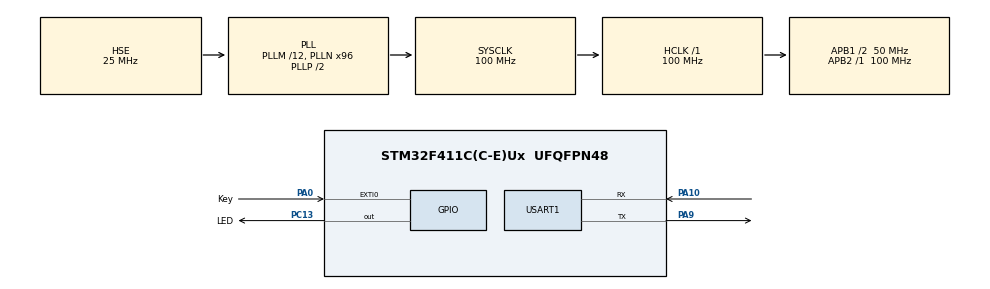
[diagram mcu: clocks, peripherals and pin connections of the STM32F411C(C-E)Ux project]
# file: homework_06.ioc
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FREERTOS.Tasks01=defaultTask,24,128,StartDefaultTask,Default,NULL,Dynamic,NULL,NULL
Mcu.Family=STM32F4
Mcu.Name=STM32F411C(C-E)Ux
Mcu.Package=UFQFPN48
NVIC.EXTI0_IRQn=true\:5\:0\:true\:false\:true\:true\:true\:true\:true
NVIC.PriorityGroup=NVIC_PRIORITYGROUP_4
NVIC.TIM1_UP_TIM10_IRQn=true\:15\:0\:false\:false\:true\:false\:false\:true\:true
NVIC.TimeBase=TIM1_UP_TIM10_IRQn
NVIC.TimeBaseIP=TIM1
PA0-WKUP.GPIO_Label=Key
PA0-WKUP.GPIO_ModeDefaultEXTI=GPIO_MODE_IT_FALLING
PA0-WKUP.GPIO_PuPd=GPIO_PULLUP
PA0-WKUP.Signal=GPXTI0
PA10.Mode=Asynchronous
PA10.Signal=USART1_RX
PA13.Mode=Serial_Wire
PA13.Signal=SYS_JTMS-SWDIO
PA14.Mode=Serial_Wire
PA14.Signal=SYS_JTCK-SWCLK
PA9.Mode=Asynchronous
PA9.Signal=USART1_TX
PC13-ANTI_TAMP.GPIO_Label=LED
PC13-ANTI_TAMP.Signal=GPIO_Output
PC14-OSC32_IN.Mode=LSE-External-Oscillator
PC14-OSC32_IN.Signal=RCC_OSC32_IN
PC15-OSC32_OUT.Mode=LSE-External-Oscillator
PC15-OSC32_OUT.Signal=RCC_OSC32_OUT
PH0\ -\ OSC_IN.Mode=HSE-External-Oscillator
PH0\ -\ OSC_IN.Signal=RCC_OSC_IN
PH1\ -\ OSC_OUT.Mode=HSE-External-Oscillator
PH1\ -\ OSC_OUT.Signal=RCC_OSC_OUT
ProjectManager.HeapSize=0x200
ProjectManager.StackSize=0x400
ProjectManager.TargetToolchain=MDK-ARM V5.32
RCC.48MHZClocksFreq_Value=50000000
RCC.AHBFreq_Value=100000000
RCC.APB1CLKDivider=RCC_HCLK_DIV2
RCC.APB1Freq_Value=50000000
RCC.APB1TimFreq_Value=100000000
RCC.APB2Freq_Value=100000000
RCC.APB2TimFreq_Value=100000000
RCC.CortexFreq_Value=100000000
RCC.HCLKFreq_Value=100000000
RCC.HSE_VALUE=25000000
RCC.HSI_VALUE=16000000
RCC.PLLM=12
RCC.PLLN=96
RCC.PLLSourceVirtual=RCC_PLLSOURCE_HSE
RCC.SYSCLKFreq_VALUE=100000000
RCC.SYSCLKSource=RCC_SYSCLKSOURCE_PLLCLK
RCC.VCOOutputFreq_Value=200000000
USART1.VirtualMode=VM_ASYNC
VP_FREERTOS_VS_CMSIS_V2.Mode=CMSIS_V2
VP_SYS_VS_tim1.Mode=TIM1
board=custom

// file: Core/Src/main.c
/* USER CODE BEGIN Header */
/**
  ******************************************************************************
  * @file           : main.c
  * @brief          : Main program body
  ******************************************************************************
  * @attention
  *
  * Copyright (c) 2024 STMicroelectronics.
  * All rights reserved.
  *
  * This software is licensed under terms that can be found in the LICENSE file
  * in the root directory of this software component.
  * If no LICENSE file comes with this software, it is provided AS-IS.
  *
  ******************************************************************************
  */
/* USER CODE END Header */
#include "main.h"
#include "cmsis_os.h"

/* USER CODE BEGIN Includes */
#include <stdio.h>
#include "bsp_key_irq.h"
#include "bsp_led.h"

/* USER CODE END Includes */

UART_HandleTypeDef huart1;

/* Definitions for defaultTask */
osThreadId_t defaultTaskHandle;
const osThreadAttr_t defaultTask_attributes = {
  .name = "defaultTask",
  .stack_size = 128 * 4,
  .priority = (osPriority_t) osPriorityNormal,
};

void SystemClock_Config(void);
static void MX_GPIO_Init(void);
static void MX_USART1_UART_Init(void);
void StartDefaultTask(void *argument);

/* USER CODE BEGIN PFP */
 #ifdef __GNUC__
     #define PUTCHAR_PROTOTYPE int _io_putchar(int ch)
 #else
     #define PUTCHAR_PROTOTYPE int fputc(int ch, FILE *f)
 #endif /* __GNUC__*/

 /******************************************************************
     *@brief  Retargets the C library printf  function to the USART.
     *@param  None
     *@retval None
 ******************************************************************/
 PUTCHAR_PROTOTYPE
 {
     HAL_UART_Transmit(&huart1, (uint8_t *)&ch,1,0xFFFF);
     return ch;
 }

/**
  * @brief  key thread function
  * @param  void * argument
  * @retval void
*/

/* USER CODE END PFP */

int main(void)
{

  /* MCU Configuration--------------------------------------------------------*/

  /* Reset of all peripherals, Initializes the Flash interface and the Systick. */
  HAL_Init();

  /* Configure the system clock */
  SystemClock_Config();

  /* Initialize all configured peripherals */
  MX_GPIO_Init();
  MX_USART1_UART_Init();

  /* Init scheduler */
  osKernelInitialize();

  /* Create the thread(s) */
  /* creation of defaultTask */
  defaultTaskHandle = osThreadNew(StartDefaultTask, NULL, &defaultTask_attributes);

  /* USER CODE BEGIN RTOS_THREADS */
  /* add threads, ... */
  key_TaskHandle = osThreadNew(key_task_func, NULL, &key_Task_attributes);
  led_TaskHandle = osThreadNew(led_task_func, NULL, &led_Task_attributes);
  /* USER CODE END RTOS_THREADS */

  /* Start scheduler */
  osKernelStart();

  /* We should never get here as control is now taken by the scheduler */

  /* Infinite loop */
  while (1)
  {

  }
}

void SystemClock_Config(void)
{
  RCC_OscInitTypeDef RCC_OscInitStruct = {0};
  RCC_ClkInitTypeDef RCC_ClkInitStruct = {0};

  /** Configure the main internal regulator output voltage
  */
  __HAL_RCC_PWR_CLK_ENABLE();
  __HAL_PWR_VOLTAGESCALING_CONFIG(PWR_REGULATOR_VOLTAGE_SCALE1);

  /** Initializes the RCC Oscillators according to the specified parameters
  * in the RCC_OscInitTypeDef structure.
  */
  RCC_OscInitStruct.OscillatorType = RCC_OSCILLATORTYPE_HSE;
  RCC_OscInitStruct.HSEState = RCC_HSE_ON;
  RCC_OscInitStruct.PLL.PLLState = RCC_PLL_ON;
  RCC_OscInitStruct.PLL.PLLSource = RCC_PLLSOURCE_HSE;
  RCC_OscInitStruct.PLL.PLLM = 12;
  RCC_OscInitStruct.PLL.PLLN = 96;
  RCC_OscInitStruct.PLL.PLLP = RCC_PLLP_DIV2;
  RCC_OscInitStruct.PLL.PLLQ = 4;
  if (HAL_RCC_OscConfig(&RCC_OscInitStruct) != HAL_OK)
  {
    Error_Handler();
  }

  /** Initializes the CPU, AHB and APB buses clocks
  */
  RCC_ClkInitStruct.ClockType = RCC_CLOCKTYPE_HCLK|RCC_CLOCKTYPE_SYSCLK
                              |RCC_CLOCKTYPE_PCLK1|RCC_CLOCKTYPE_PCLK2;
  RCC_ClkInitStruct.SYSCLKSource = RCC_SYSCLKSOURCE_PLLCLK;
  RCC_ClkInitStruct.AHBCLKDivider = RCC_SYSCLK_DIV1;
  RCC_ClkInitStruct.APB1CLKDivider = RCC_HCLK_DIV2;
  RCC_ClkInitStruct.APB2CLKDivider = RCC_HCLK_DIV1;

  if (HAL_RCC_ClockConfig(&RCC_ClkInitStruct, FLASH_LATENCY_3) != HAL_OK)
  {
    Error_Handler();
  }
}

static void MX_USART1_UART_Init(void)
{

  huart1.Instance = USART1;
  huart1.Init.BaudRate = 115200;
  huart1.Init.WordLength = UART_WORDLENGTH_8B;
  huart1.Init.StopBits = UART_STOPBITS_1;
  huart1.Init.Parity = UART_PARITY_NONE;
  huart1.Init.Mode = UART_MODE_TX_RX;
  huart1.Init.HwFlowCtl = UART_HWCONTROL_NONE;
  huart1.Init.OverSampling = UART_OVERSAMPLING_16;
  if (HAL_UART_Init(&huart1) != HAL_OK)
  {
    Error_Handler();
  }

}

static void MX_GPIO_Init(void)
{
  GPIO_InitTypeDef GPIO_InitStruct = {0};

  /* GPIO Ports Clock Enable */
  __HAL_RCC_GPIOC_CLK_ENABLE();
  __HAL_RCC_GPIOH_CLK_ENABLE();
  __HAL_RCC_GPIOA_CLK_ENABLE();

  /*Configure GPIO pin Output Level */
  HAL_GPIO_WritePin(LED_GPIO_Port, LED_Pin, GPIO_PIN_RESET);

  /*Configure GPIO pin : LED_Pin */
  GPIO_InitStruct.Pin = LED_Pin;
  GPIO_InitStruct.Mode = GPIO_MODE_OUTPUT_PP;
  GPIO_InitStruct.Pull = GPIO_NOPULL;
  GPIO_InitStruct.Speed = GPIO_SPEED_FREQ_LOW;
  HAL_GPIO_Init(LED_GPIO_Port, &GPIO_InitStruct);

  /*Configure GPIO pin : Key_Pin */
  GPIO_InitStruct.Pin = Key_Pin;
  GPIO_InitStruct.Mode = GPIO_MODE_IT_FALLING;
  GPIO_InitStruct.Pull = GPIO_PULLUP;
  HAL_GPIO_Init(Key_GPIO_Port, &GPIO_InitStruct);

  /* EXTI interrupt init*/
  HAL_NVIC_SetPriority(EXTI0_IRQn, 5, 0);
  HAL_NVIC_EnableIRQ(EXTI0_IRQn);

}

void StartDefaultTask(void *argument)
{
  /* USER CODE BEGIN 5 */
#if 0
    /*********************APP Task**********************************************/
    /**     Variables (in stack)            */
    key_status_t ret_key_status      =             KEY_OK;
    key_press_status_t key_value     =    KEY_NOT_PRESSED;
    led_operation_t    led_ops_event =   LED_INITED_VALUE;
    /**     Variables (in stack)            */
  /* Infinite loop */
  for(;;)
  {
    printf("APP task is living\r\n");
    //1.判断长按和短按
    ret_key_status = key_scan_short_long_press(&key_value,
                                                    1000);
    if( KEY_OK == ret_key_status )
    {
        //1.1 判断为短按
        if( KEY_SHORT_PRESSED == key_value )
        {
            printf("short pressed at [%d] tick \r\n", HAL_GetTick());
            //3.若为短按，则发送对应的LED翻转的消息队列
            led_ops_event  =  LED_TOGGLE;
            if ( pdTRUE == xQueueSendToFront(led_queue,&led_ops_event,0))
            {
                printf("LED_TOGGLE send successfully at [%d] tick \r\n",
                                                            HAL_GetTick());
            }
            printf("after send the queue to led\r\n");
        }

        //1.2 判断为长按
        if( KEY_LONG_PRESSED == key_value )
        {
            printf("long pressedat [%d] tick \r\n", HAL_GetTick());
            //2.若为长按，则发送对应的闪烁3次消息队列
            led_ops_event  =  LED_BLINK_3_TIMES;
            if ( pdTRUE == xQueueSendToFront(led_queue,&led_ops_event,0))
            {
                printf("LED_BLINK_3_TIMES send successfully at [%d] tick \r\n",
                                                                HAL_GetTick());
            }
        }
    }
    HAL_Delay(100);
    osDelay(100);
  }
#endif
/* 等待按键任务创建队列 */
    osDelay(500);

/* Test #1：初始状态收到上升沿 */
#if 0
    key_press_event_t test_event =
    {
        .edge_type = RASING,
        .trigger_tick = HAL_GetTick()
    };

    if (NULL == inter_key_queue)
    {
        printf("inter_key_queue not created\r\n");
    }
    else if (pdTRUE == xQueueSendToFront(inter_key_queue,
                                        &test_event, 0))
    {
        printf("Test #1 send successfully at [%d] tick \r\n", HAL_GetTick());
    }
    else
    {
        printf("Test #1 send failed at [%d] tick \r\n", HAL_GetTick());
    }
#endif

#if 0
    /* Test #2：模拟按下，然后松开 */
    if (NULL == inter_key_queue)
    {
        printf("inter_key_queue not created\r\n");
    }
    else
    {
        /* 第一个事件：按下 */
        key_press_event_t test_event_1 =
        {
            .edge_type = FAILING,
            .trigger_tick = HAL_GetTick()
        };

        if (pdTRUE == xQueueSendToBack(inter_key_queue,
                                        &test_event_1, 0))
        {
            printf("Test #2 falling send successfully\r\n");
        }
        else
        {
            printf("Test #2 falling send failed\r\n");
        }

        HAL_Delay(20);

        /* 第二个事件：松开，在这里才记录松开时间 */
        key_press_event_t test_event_2 =
        {
            .edge_type = RASING,
            .trigger_tick = HAL_GetTick()
        };

        if (pdTRUE == xQueueSendToBack(inter_key_queue,
                                        &test_event_2, 0))
        {
            printf("Test #2 rising send successfully\r\n");
        }
        else
        {
            printf("Test #2 rising send failed\r\n");
        }
    }
#endif

#if 0
    /* Test #3：模拟按下，然后松开 */
    if (NULL == inter_key_queue)
    {
        printf("inter_key_queue not created\r\n");
    }
    else
    {
        /* 第一个事件：按下 */
        key_press_event_t test_event_1 =
        {
            .edge_type = FAILING,
            .trigger_tick = HAL_GetTick()
        };

        if (pdTRUE == xQueueSendToBack(inter_key_queue,
                                        &test_event_1, 0))
        {
            printf("Test #3 falling send successfully\r\n");
        }
        else
        {
            printf("Test #3 falling send failed\r\n");
        }

        HAL_Delay(600);

        /* 第二个事件：松开，在这里才记录松开时间 */
        key_press_event_t test_event_2 =
        {
            .edge_type = RASING,
            .trigger_tick = HAL_GetTick()
        };

        if (pdTRUE == xQueueSendToBack(inter_key_queue,
                                        &test_event_2, 0))
        {
            printf("Test #3 rising send successfully\r\n");
        }
        else
        {
            printf("Test #3 rising send failed\r\n");
        }
    }
#endif

/* 测试消息只发送一次，后续保持任务运行 */
    for (;;)
    {
        key_press_status_t key_result = KEY_NOT_PRESSED;

        printf("APP task is living at [%d] tick\r\n", HAL_GetTick());

        if ((NULL != key_queue) && (NULL != led_queue))
        {
            if (pdTRUE == xQueueReceive(key_queue, &key_result, 0))
            {
                led_operation_t led_action = LED_INITED_VALUE;

                /* 将按键结果映射为 LED 动作。 */
                if (KEY_SHORT_PRESSED == key_result)
                {
                    led_action = LED_TOGGLE;
                }
                else if (KEY_LONG_PRESSED == key_result)
                {
                    led_action = LED_BLINK_3_TIMES;
                }

                /* 有对应动作时，交给 LED 任务执行。 */
                if (LED_INITED_VALUE != led_action)
                {
                    if (pdTRUE == xQueueSendToFront(led_queue,
                                                  &led_action, 0))
                    {
                        printf("APP forward key [%d] to LED [%d] successfully\r\n",
                              key_result, led_action);
                    }
                    else
                    {
                        printf("APP forward to LED failed\r\n");
                    }
                }
                else
                {
                    printf("APP received unexpected key result [%d]\r\n",
                          key_result);
                }
            }
        }

        osDelay(100);
    }
    /*********************APP Task**********************************************/
  /* USER CODE END 5 */
}

void HAL_TIM_PeriodElapsedCallback(TIM_HandleTypeDef *htim)
{
  if (htim->Instance == TIM1) {
    HAL_IncTick();
  }
}

void Error_Handler(void)
{
  __disable_irq();
  while (1)
  {
  }
}
